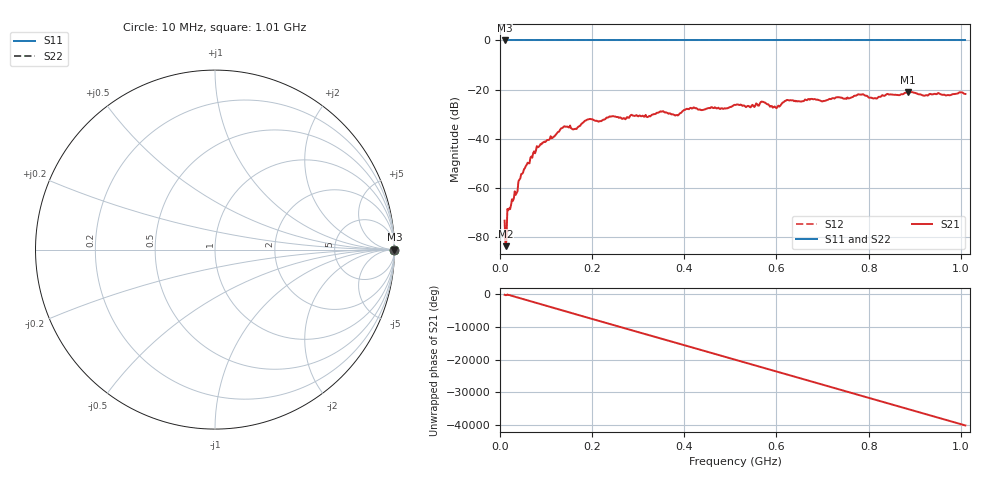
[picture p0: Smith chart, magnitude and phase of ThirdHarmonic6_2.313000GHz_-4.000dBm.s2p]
! 8/17/2025 3:13:25 AM
! C:\ANRITSUVNA\TEMP\TEMP.S2P
! CHANNEL.1
! TR.MEASUREMENT
! RAW.DATA
! RF.CORRECTION.OFF
! AVERAGING.OFF
! IF.BANDWIDTH: 5KHZ
! SWEEPTYPE:  FREQ.SWEEP(Linear)
! Reference Plane Port Info
! PORT:  PORT1  PORT2
! DISTANCE:  0  m  0  m
! TIME:  0  s  0  s
! PHASE.OFFSET:  0  deg.  0  deg.
! LOSS:  0  dB  0  dB
! REF.LOSS:  0  dB  0  dB
! REF.FREQ:  0  Hz  0  Hz
! Power Info
! POWER:  -20  dBm  -20  dBm
! EFF.POWER:  -20  dBm  -20  dBm
! SOURCE.ATTEN:  0  dB  0  dB
! TEST.ATTEN:  0  dB  0  dB
# GHZ S RI R 50.0
! FREQ.GHZ  S11RE  S11IM  S21RE  S21IM  S12RE  S12IM  S22RE  S22IM
!; PortSelection: Port_12
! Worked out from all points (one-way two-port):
!   501 points, 10 MHz to 1.01 GHz, reference 50 ohm
!   highest |S21| = -20.95 dB at 886 MHz (marker M1); lowest = -83.8 dB at 12 MHz (marker M2)
!   lowest |S11| = 0.0 dB at 10 MHz (marker M3)
!   |S11| at or under -10 dB: nowhere
!   |S22| runs from 0.0 to 0.0 dB; largest |S21 - S12| = 1.1
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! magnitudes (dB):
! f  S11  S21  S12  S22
! 10 MHz  0.0  -73.4  0.0  0.0
! 12 MHz  0.0  -83.8  0.0  0.0
! 16 MHz  0.0  -68.6  0.0  0.0
! 20 MHz  0.0  -68.4  0.0  0.0
! 34 MHz  0.0  -62.9  0.0  0.0
! 44 MHz  0.0  -56.2  0.0  0.0
! 76 MHz  0.0  -46.0  0.0  0.0
! 136 MHz  0.0  -35.6  0.0  0.0
! 162 MHz  0.0  -36.1  0.0  0.0
! 178 MHz  0.0  -33.8  0.0  0.0
! 192 MHz  0.0  -32.1  0.0  0.0
! 344 MHz  0.0  -29.4  0.0  0.0
! 384 MHz  0.0  -30.4  0.0  0.0
! 416 MHz  0.0  -27.7  0.0  0.0
! 510 MHz  0.0  -26.2  0.0  0.0
! 570 MHz  0.0  -25.0  0.0  0.0
! 596 MHz  0.0  -26.9  0.0  0.0
! 622 MHz  0.0  -24.3  0.0  0.0
! 678 MHz  0.0  -23.8  0.0  0.0
! 844 MHz  0.0  -22.0  0.0  0.0
! 886 MHz  0.0  -21.0  0.0  0.0
! 1.01 GHz  0.0  -21.8  0.0  0.0
